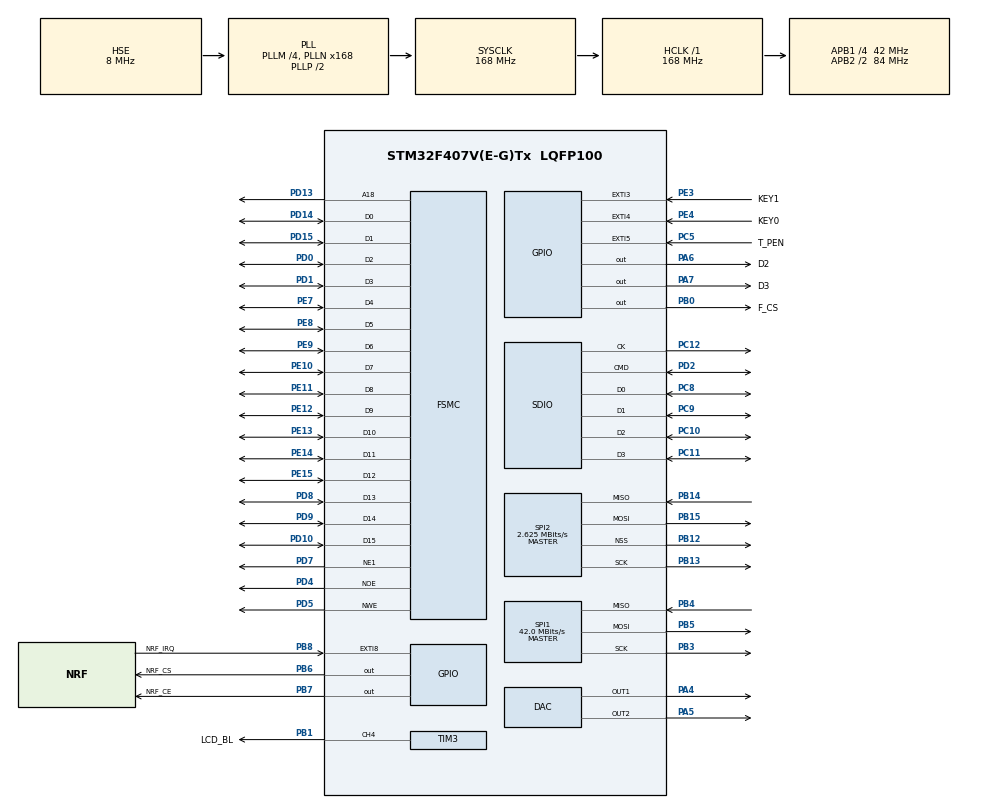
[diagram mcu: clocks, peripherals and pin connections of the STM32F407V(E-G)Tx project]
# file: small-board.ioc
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DAC.DAC_Trigger=DAC_TRIGGER_T6_TRGO
DAC.DAC_Trigger2=DAC_TRIGGER_T6_TRGO
Dma.DAC1.3.Direction=DMA_MEMORY_TO_PERIPH
Dma.DAC1.3.FIFOMode=DMA_FIFOMODE_DISABLE
Dma.DAC1.3.Instance=DMA1_Stream5
Dma.DAC1.3.MemDataAlignment=DMA_MDATAALIGN_HALFWORD
Dma.DAC1.3.MemInc=DMA_MINC_ENABLE
Dma.DAC1.3.Mode=DMA_CIRCULAR
Dma.DAC1.3.PeriphDataAlignment=DMA_PDATAALIGN_HALFWORD
Dma.DAC1.3.PeriphInc=DMA_PINC_DISABLE
Dma.DAC1.3.Priority=DMA_PRIORITY_LOW
Dma.DAC2.4.Direction=DMA_MEMORY_TO_PERIPH
Dma.DAC2.4.FIFOMode=DMA_FIFOMODE_DISABLE
Dma.DAC2.4.Instance=DMA1_Stream6
Dma.DAC2.4.MemDataAlignment=DMA_MDATAALIGN_HALFWORD
Dma.DAC2.4.MemInc=DMA_MINC_ENABLE
Dma.DAC2.4.Mode=DMA_CIRCULAR
Dma.DAC2.4.PeriphDataAlignment=DMA_PDATAALIGN_HALFWORD
Dma.DAC2.4.PeriphInc=DMA_PINC_DISABLE
Dma.DAC2.4.Priority=DMA_PRIORITY_LOW
Dma.MEMTOMEM.2.Direction=DMA_MEMORY_TO_MEMORY
Dma.MEMTOMEM.2.FIFOMode=DMA_FIFOMODE_ENABLE
Dma.MEMTOMEM.2.FIFOThreshold=DMA_FIFO_THRESHOLD_FULL
Dma.MEMTOMEM.2.Instance=DMA2_Stream0
Dma.MEMTOMEM.2.MemBurst=DMA_MBURST_SINGLE
Dma.MEMTOMEM.2.MemDataAlignment=DMA_MDATAALIGN_HALFWORD
Dma.MEMTOMEM.2.MemInc=DMA_MINC_DISABLE
Dma.MEMTOMEM.2.Mode=DMA_NORMAL
Dma.MEMTOMEM.2.PeriphBurst=DMA_PBURST_SINGLE
Dma.MEMTOMEM.2.PeriphDataAlignment=DMA_PDATAALIGN_HALFWORD
Dma.MEMTOMEM.2.PeriphInc=DMA_PINC_ENABLE
Dma.MEMTOMEM.2.Priority=DMA_PRIORITY_MEDIUM
Dma.Request0=SDIO_RX
Dma.Request1=SDIO_TX
Dma.Request2=MEMTOMEM
Dma.Request3=DAC1
Dma.Request4=DAC2
Dma.SDIO_RX.0.Direction=DMA_PERIPH_TO_MEMORY
Dma.SDIO_RX.0.FIFOMode=DMA_FIFOMODE_ENABLE
Dma.SDIO_RX.0.FIFOThreshold=DMA_FIFO_THRESHOLD_FULL
Dma.SDIO_RX.0.Instance=DMA2_Stream3
Dma.SDIO_RX.0.MemBurst=DMA_MBURST_INC4
Dma.SDIO_RX.0.MemDataAlignment=DMA_MDATAALIGN_WORD
Dma.SDIO_RX.0.MemInc=DMA_MINC_ENABLE
Dma.SDIO_RX.0.Mode=DMA_PFCTRL
Dma.SDIO_RX.0.PeriphBurst=DMA_PBURST_INC4
Dma.SDIO_RX.0.PeriphDataAlignment=DMA_PDATAALIGN_WORD
Dma.SDIO_RX.0.PeriphInc=DMA_PINC_DISABLE
Dma.SDIO_RX.0.Priority=DMA_PRIORITY_HIGH
Dma.SDIO_TX.1.Direction=DMA_MEMORY_TO_PERIPH
Dma.SDIO_TX.1.FIFOMode=DMA_FIFOMODE_ENABLE
Dma.SDIO_TX.1.FIFOThreshold=DMA_FIFO_THRESHOLD_FULL
Dma.SDIO_TX.1.Instance=DMA2_Stream6
Dma.SDIO_TX.1.MemBurst=DMA_MBURST_INC4
Dma.SDIO_TX.1.MemDataAlignment=DMA_MDATAALIGN_WORD
Dma.SDIO_TX.1.MemInc=DMA_MINC_ENABLE
Dma.SDIO_TX.1.Mode=DMA_PFCTRL
Dma.SDIO_TX.1.PeriphBurst=DMA_PBURST_INC4
Dma.SDIO_TX.1.PeriphDataAlignment=DMA_PDATAALIGN_WORD
Dma.SDIO_TX.1.PeriphInc=DMA_PINC_DISABLE
Dma.SDIO_TX.1.Priority=DMA_PRIORITY_HIGH
FREERTOS.Queues01=SDQueue,4,uint16_t,NULL,Dynamic,NULL,NULL
FREERTOS.Tasks01=defaultTask,0,4096,StartDefaultTask,Default,NULL,Dynamic,NULL,NULL;soundLoop,0,4096,SoundTask,Default,NULL,Dynamic,NULL,NULL
FREERTOS.configMINIMAL_STACK_SIZE=512
FREERTOS.configTOTAL_HEAP_SIZE=51200
FSMC.AddressSetupTime1=0
FSMC.BusTurnAroundDuration1=0
FSMC.DataSetupTime1=1
Mcu.Family=STM32F4
Mcu.Name=STM32F407V(E-G)Tx
Mcu.Package=LQFP100
NVIC.DMA1_Stream5_IRQn=true\:5\:0\:false\:false\:true\:true\:false
NVIC.DMA1_Stream6_IRQn=true\:5\:0\:false\:false\:true\:true\:false
NVIC.DMA2_Stream0_IRQn=true\:0\:0\:false\:false\:true\:false\:true
NVIC.DMA2_Stream3_IRQn=true\:5\:0\:false\:false\:true\:true\:false
NVIC.DMA2_Stream6_IRQn=true\:5\:0\:false\:false\:true\:true\:false
NVIC.EXTI3_IRQn=true\:5\:0\:false\:false\:true\:true\:true
NVIC.EXTI4_IRQn=true\:5\:0\:false\:false\:true\:true\:true
NVIC.EXTI9_5_IRQn=true\:5\:0\:false\:false\:true\:true\:true
NVIC.PriorityGroup=NVIC_PRIORITYGROUP_4
NVIC.SDIO_IRQn=true\:5\:0\:false\:false\:true\:true\:true
NVIC.TIM6_DAC_IRQn=true\:5\:0\:false\:false\:true\:true\:true
NVIC.TIM7_IRQn=true\:0\:0\:false\:false\:true\:false\:false
NVIC.TimeBase=TIM7_IRQn
NVIC.TimeBaseIP=TIM7
PA13.Mode=Serial_Wire
PA13.Signal=SYS_JTMS-SWDIO
PA14.Mode=Serial_Wire
PA14.Signal=SYS_JTCK-SWCLK
PA4.Signal=COMP_DAC1_group
PA5.Signal=COMP_DAC2_group
PA6.GPIO_Label=D2
PA6.Signal=GPIO_Output
PA7.GPIO_Label=D3
PA7.Signal=GPIO_Output
PB0.GPIO_Label=F_CS
PB0.Signal=GPIO_Output
PB1.GPIO_Label=LCD_BL
PB1.Signal=S_TIM3_CH4
PB12.Mode=NSS_Signal_Hard_Output
PB12.Signal=SPI2_NSS
PB13.Mode=Full_Duplex_Master
PB13.Signal=SPI2_SCK
PB14.Mode=Full_Duplex_Master
PB14.Signal=SPI2_MISO
PB15.Mode=Full_Duplex_Master
PB15.Signal=SPI2_MOSI
PB3.Mode=Full_Duplex_Master
PB3.Signal=SPI1_SCK
PB4.Mode=Full_Duplex_Master
PB4.Signal=SPI1_MISO
PB5.Mode=Full_Duplex_Master
PB5.Signal=SPI1_MOSI
PB6.GPIO_Label=NRF_CS
PB6.Signal=GPIO_Output
PB7.GPIO_Label=NRF_CE
PB7.Signal=GPIO_Output
PB8.GPIO_Label=NRF_IRQ
PB8.Signal=GPXTI8
PC10.Mode=SD_4_bits_Wide_bus
PC10.Signal=SDIO_D2
PC11.Mode=SD_4_bits_Wide_bus
PC11.Signal=SDIO_D3
PC12.Mode=SD_4_bits_Wide_bus
PC12.Signal=SDIO_CK
PC5.GPIO_Label=T_PEN
PC5.GPIO_ModeDefaultEXTI=GPIO_MODE_IT_FALLING
PC5.GPIO_PuPd=GPIO_PULLUP
PC5.Signal=GPXTI5
PC8.Mode=SD_4_bits_Wide_bus
PC8.Signal=SDIO_D0
PC9.Mode=SD_4_bits_Wide_bus
PC9.Signal=SDIO_D1
PD0.Mode=16b-d1
PD0.Signal=FSMC_D2
PD1.Mode=16b-d1
PD1.Signal=FSMC_D3
PD10.Mode=16b-d1
PD10.Signal=FSMC_D15
PD13.Mode=A18_1
PD13.Signal=FSMC_A18
PD14.Mode=16b-d1
PD14.Signal=FSMC_D0
PD15.Mode=16b-d1
PD15.Signal=FSMC_D1
PD2.Mode=SD_4_bits_Wide_bus
PD2.Signal=SDIO_CMD
PD4.Mode=Lcd1
PD4.Signal=FSMC_NOE
PD5.Mode=Lcd1
PD5.Signal=FSMC_NWE
PD7.Mode=NorPsramChipSelect1_1
PD7.Signal=FSMC_NE1
PD8.Mode=16b-d1
PD8.Signal=FSMC_D13
PD9.Mode=16b-d1
PD9.Signal=FSMC_D14
PE10.Mode=16b-d1
PE10.Signal=FSMC_D7
PE11.Mode=16b-d1
PE11.Signal=FSMC_D8
PE12.Mode=16b-d1
PE12.Signal=FSMC_D9
PE13.Mode=16b-d1
PE13.Signal=FSMC_D10
PE14.Mode=16b-d1
PE14.Signal=FSMC_D11
PE15.Mode=16b-d1
PE15.Signal=FSMC_D12
PE3.GPIO_Label=KEY1
PE3.Signal=GPXTI3
PE4.GPIO_Label=KEY0
PE4.Signal=GPXTI4
PE7.Mode=16b-d1
PE7.Signal=FSMC_D4
PE8.Mode=16b-d1
PE8.Signal=FSMC_D5
PE9.Mode=16b-d1
PE9.Signal=FSMC_D6
PH0-OSC_IN.Mode=HSE-External-Oscillator
PH0-OSC_IN.Signal=RCC_OSC_IN
PH1-OSC_OUT.Mode=HSE-External-Oscillator
PH1-OSC_OUT.Signal=RCC_OSC_OUT
ProjectManager.HeapSize=0x400
ProjectManager.StackSize=0x800
ProjectManager.TargetToolchain=SW4STM32
RCC.48MHZClocksFreq_Value=48000000
RCC.AHBFreq_Value=168000000
RCC.APB1CLKDivider=RCC_HCLK_DIV4
RCC.APB1Freq_Value=42000000
RCC.APB1TimFreq_Value=84000000
RCC.APB2CLKDivider=RCC_HCLK_DIV2
RCC.APB2Freq_Value=84000000
RCC.APB2TimFreq_Value=168000000
RCC.CortexFreq_Value=168000000
RCC.HCLKFreq_Value=168000000
RCC.HSE_VALUE=8000000
RCC.HSI_VALUE=16000000
RCC.LSE_VALUE=32768
RCC.PLLM=4
RCC.PLLN=168
RCC.PLLQ=7
RCC.PLLSourceVirtual=RCC_PLLSOURCE_HSE
RCC.SYSCLKFreq_VALUE=168000000
RCC.SYSCLKSource=RCC_SYSCLKSOURCE_PLLCLK
RCC.VCOOutputFreq_Value=336000000
SDIO.ClockBypass=SDIO_CLOCK_BYPASS_DISABLE
SDIO.HardwareFlowControl=SDIO_HARDWARE_FLOW_CONTROL_ENABLE
SH.COMP_DAC1_group.0=DAC_OUT1,DAC_OUT1
SH.COMP_DAC2_group.0=DAC_OUT2,DAC_OUT2
SH.S_TIM3_CH4.0=TIM3_CH4,PWM Generation4 CH4
SPI1.CalculateBaudRate=42.0 MBits/s
SPI1.Direction=SPI_DIRECTION_2LINES
SPI1.Mode=SPI_MODE_MASTER
SPI1.VirtualType=VM_MASTER
SPI2.BaudRatePrescaler=SPI_BAUDRATEPRESCALER_16
SPI2.CalculateBaudRate=2.625 MBits/s
SPI2.Direction=SPI_DIRECTION_2LINES
SPI2.Mode=SPI_MODE_MASTER
SPI2.VirtualNSS=VM_NSSHARD
SPI2.VirtualType=VM_MASTER
TIM3.Channel-PWM\ Generation4\ CH4=TIM_CHANNEL_4
TIM3.Period=100-1
TIM3.Prescaler=168-1
TIM3.Pulse-PWM\ Generation4\ CH4=70
TIM6.Period=5079-1
TIM6.Prescaler=3-1
TIM6.TIM_MasterOutputTrigger=TIM_TRGO_UPDATE
VP_FATFS_VS_SDIO.Mode=SDIO
VP_FREERTOS_VS_ENABLE.Mode=Enabled
VP_SYS_VS_tim7.Mode=TIM7
VP_TIM3_VS_ClockSourceINT.Mode=Internal
VP_TIM6_VS_ClockSourceINT.Mode=Enable_Timer
board=small-board

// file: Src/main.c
/**
 ******************************************************************************
 * File Name          : main.c
 * Description        : Main program body
 ******************************************************************************
 * This notice applies to any and all portions of this file
 * that are not between comment pairs USER CODE BEGIN and
 * USER CODE END. Other portions of this file, whether
 * inserted by the user or by software development tools
 * are owned by their respective copyright owners.
 *
 * Copyright (c) 2017 STMicroelectronics International N.V.
 * All rights reserved.
 *
 * Redistribution and use in source and binary forms, with or without
 * modification, are permitted, provided that the following conditions are met:
 *
 * 1. Redistribution of source code must retain the above copyright notice,
 *    this list of conditions and the following disclaimer.
 * 2. Redistributions in binary form must reproduce the above copyright notice,
 *    this list of conditions and the following disclaimer in the documentation
 *    and/or other materials provided with the distribution.
 * 3. Neither the name of STMicroelectronics nor the names of other
 *    contributors to this software may be used to endorse or promote products
 *    derived from this software without specific written permission.
 * 4. This software, including modifications and/or derivative works of this
 *    software, must execute solely and exclusively on microcontroller or
 *    microprocessor devices manufactured by or for STMicroelectronics.
 * 5. Redistribution and use of this software other than as permitted under
 *    this license is void and will automatically terminate your rights under
 *    this license.
 *
 * THIS SOFTWARE IS PROVIDED BY STMICROELECTRONICS AND CONTRIBUTORS "AS IS"
 * AND ANY EXPRESS, IMPLIED OR STATUTORY WARRANTIES, INCLUDING, BUT NOT
 * LIMITED TO, THE IMPLIED WARRANTIES OF MERCHANTABILITY, FITNESS FOR A
 * PARTICULAR PURPOSE AND NON-INFRINGEMENT OF THIRD PARTY INTELLECTUAL PROPERTY
 * RIGHTS ARE DISCLAIMED TO THE FULLEST EXTENT PERMITTED BY LAW. IN NO EVENT
 * SHALL STMICROELECTRONICS OR CONTRIBUTORS BE LIABLE FOR ANY DIRECT, INDIRECT,
 * INCIDENTAL, SPECIAL, EXEMPLARY, OR CONSEQUENTIAL DAMAGES (INCLUDING, BUT NOT
 * LIMITED TO, PROCUREMENT OF SUBSTITUTE GOODS OR SERVICES; LOSS OF USE, DATA,
 * OR PROFITS; OR BUSINESS INTERRUPTION) HOWEVER CAUSED AND ON ANY THEORY OF
 * LIABILITY, WHETHER IN CONTRACT, STRICT LIABILITY, OR TORT (INCLUDING
 * NEGLIGENCE OR OTHERWISE) ARISING IN ANY WAY OUT OF THE USE OF THIS SOFTWARE,
 * EVEN IF ADVISED OF THE POSSIBILITY OF SUCH DAMAGE.
 *
 ******************************************************************************
 */

#include "main.h"
#include "stm32f4xx_hal.h"
#include "cmsis_os.h"
#include "dac.h"
#include "dma.h"
#include "fatfs.h"
#include "sdio.h"
#include "spi.h"
#include "tim.h"
#include "gpio.h"
#include "fsmc.h"

/* USER CODE BEGIN Includes */
#include "lcd.h"
#include "XPT2046.h"
#include "W25Q16.h"
/* USER CODE END Includes */

/* USER CODE BEGIN PV */
/* Private variables ---------------------------------------------------------*/

/* USER CODE END PV */

void SystemClock_Config(void);
void MX_FREERTOS_Init(void);

/* USER CODE BEGIN PFP */
/* Private function prototypes -----------------------------------------------*/

/* USER CODE END PFP */

/* USER CODE BEGIN 0 */
uint16_t ts_x, ts_y;
/* USER CODE END 0 */

int main(void) {

	/* MCU Configuration----------------------------------------------------------*/

	/* Reset of all peripherals, Initializes the Flash interface and the Systick. */
	HAL_Init();

	/* Configure the system clock */
	SystemClock_Config();

	/* Initialize all configured peripherals */
	MX_GPIO_Init();
	MX_DMA_Init();
	MX_FSMC_Init();
	MX_DAC_Init();
	MX_SDIO_SD_Init();
	MX_TIM6_Init();
	MX_SPI1_Init();
	MX_TIM3_Init();
	MX_SPI2_Init();

	/* USER CODE BEGIN 2 */
	HAL_TIM_PWM_Start(&htim3, TIM_CHANNEL_4);

	LCD_Init();
	LCD_SetBacklight(70);
	LCD_FillScreen(BLACK);
	LCD_SetTextSize(1);
	LCD_SetTextColor(GREEN, BLACK);
	LCD_Printf("CPU: %d MHz\n", SystemCoreClock / 1000000);

	LCD_Printf("W25Q16_ReadID: 0x%08X\n", W25Q16_ReadID(&hspi1));

	LCD_Printf("Please, insert sd card...\n");

	/* USER CODE END 2 */

	/* Call init function for freertos objects (in freertos.c) */
	MX_FREERTOS_Init();

	/* Start scheduler */
	osKernelStart();

	/* We should never get here as control is now taken by the scheduler */

	/* Infinite loop */
	while (1) {

	}

}

/** System Clock Configuration
 */
void SystemClock_Config(void) {

	RCC_OscInitTypeDef RCC_OscInitStruct;
	RCC_ClkInitTypeDef RCC_ClkInitStruct;

	/**Configure the main internal regulator output voltage
	 */
	__HAL_RCC_PWR_CLK_ENABLE()
	;

	__HAL_PWR_VOLTAGESCALING_CONFIG(PWR_REGULATOR_VOLTAGE_SCALE1);

	/**Initializes the CPU, AHB and APB busses clocks
	 */
	RCC_OscInitStruct.OscillatorType = RCC_OSCILLATORTYPE_HSE;
	RCC_OscInitStruct.HSEState = RCC_HSE_ON;
	RCC_OscInitStruct.PLL.PLLState = RCC_PLL_ON;
	RCC_OscInitStruct.PLL.PLLSource = RCC_PLLSOURCE_HSE;
	RCC_OscInitStruct.PLL.PLLM = 4;
	RCC_OscInitStruct.PLL.PLLN = 168;
	RCC_OscInitStruct.PLL.PLLP = RCC_PLLP_DIV2;
	RCC_OscInitStruct.PLL.PLLQ = 7;
	if (HAL_RCC_OscConfig(&RCC_OscInitStruct) != HAL_OK) {
		_Error_Handler(__FILE__, __LINE__);
	}

	/**Initializes the CPU, AHB and APB busses clocks
	 */
	RCC_ClkInitStruct.ClockType = RCC_CLOCKTYPE_HCLK | RCC_CLOCKTYPE_SYSCLK
			| RCC_CLOCKTYPE_PCLK1 | RCC_CLOCKTYPE_PCLK2;
	RCC_ClkInitStruct.SYSCLKSource = RCC_SYSCLKSOURCE_PLLCLK;
	RCC_ClkInitStruct.AHBCLKDivider = RCC_SYSCLK_DIV1;
	RCC_ClkInitStruct.APB1CLKDivider = RCC_HCLK_DIV4;
	RCC_ClkInitStruct.APB2CLKDivider = RCC_HCLK_DIV2;

	if (HAL_RCC_ClockConfig(&RCC_ClkInitStruct, FLASH_LATENCY_5) != HAL_OK) {
		_Error_Handler(__FILE__, __LINE__);
	}

	/**Configure the Systick interrupt time
	 */
	HAL_SYSTICK_Config(HAL_RCC_GetHCLKFreq() / 1000);

	/**Configure the Systick
	 */
	HAL_SYSTICK_CLKSourceConfig(SYSTICK_CLKSOURCE_HCLK);

	/* SysTick_IRQn interrupt configuration */
	HAL_NVIC_SetPriority(SysTick_IRQn, 15, 0);
}

void HAL_TIM_PeriodElapsedCallback(TIM_HandleTypeDef *htim) {
	if (htim->Instance == TIM7) {
		HAL_IncTick();
	}
}

void _Error_Handler(char * file, int line) {
	while (1) {
	}
}

/************************ (C) COPYRIGHT STMicroelectronics *****END OF FILE****/

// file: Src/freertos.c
/**
 ******************************************************************************
 * File Name          : freertos.c
 * Description        : Code for freertos applications
 ******************************************************************************
 * This notice applies to any and all portions of this file
 * that are not between comment pairs USER CODE BEGIN and
 * USER CODE END. Other portions of this file, whether
 * inserted by the user or by software development tools
 * are owned by their respective copyright owners.
 *
 * Copyright (c) 2017 STMicroelectronics International N.V.
 * All rights reserved.
 *
 * Redistribution and use in source and binary forms, with or without
 * modification, are permitted, provided that the following conditions are met:
 *
 * 1. Redistribution of source code must retain the above copyright notice,
 *    this list of conditions and the following disclaimer.
 * 2. Redistributions in binary form must reproduce the above copyright notice,
 *    this list of conditions and the following disclaimer in the documentation
 *    and/or other materials provided with the distribution.
 * 3. Neither the name of STMicroelectronics nor the names of other
 *    contributors to this software may be used to endorse or promote products
 *    derived from this software without specific written permission.
 * 4. This software, including modifications and/or derivative works of this
 *    software, must execute solely and exclusively on microcontroller or
 *    microprocessor devices manufactured by or for STMicroelectronics.
 * 5. Redistribution and use of this software other than as permitted under
 *    this license is void and will automatically terminate your rights under
 *    this license.
 *
 * THIS SOFTWARE IS PROVIDED BY STMICROELECTRONICS AND CONTRIBUTORS "AS IS"
 * AND ANY EXPRESS, IMPLIED OR STATUTORY WARRANTIES, INCLUDING, BUT NOT
 * LIMITED TO, THE IMPLIED WARRANTIES OF MERCHANTABILITY, FITNESS FOR A
 * PARTICULAR PURPOSE AND NON-INFRINGEMENT OF THIRD PARTY INTELLECTUAL PROPERTY
 * RIGHTS ARE DISCLAIMED TO THE FULLEST EXTENT PERMITTED BY LAW. IN NO EVENT
 * SHALL STMICROELECTRONICS OR CONTRIBUTORS BE LIABLE FOR ANY DIRECT, INDIRECT,
 * INCIDENTAL, SPECIAL, EXEMPLARY, OR CONSEQUENTIAL DAMAGES (INCLUDING, BUT NOT
 * LIMITED TO, PROCUREMENT OF SUBSTITUTE GOODS OR SERVICES; LOSS OF USE, DATA,
 * OR PROFITS; OR BUSINESS INTERRUPTION) HOWEVER CAUSED AND ON ANY THEORY OF
 * LIABILITY, WHETHER IN CONTRACT, STRICT LIABILITY, OR TORT (INCLUDING
 * NEGLIGENCE OR OTHERWISE) ARISING IN ANY WAY OUT OF THE USE OF THIS SOFTWARE,
 * EVEN IF ADVISED OF THE POSSIBILITY OF SUCH DAMAGE.
 *
 ******************************************************************************
 */

#include "FreeRTOS.h"
#include "task.h"
#include "cmsis_os.h"

/* USER CODE BEGIN Includes */
#include "fatfs.h"
#include "lcd.h"
#include "waveplayer.h"
/* USER CODE END Includes */

osThreadId defaultTaskHandle;
osThreadId soundLoopHandle;
osMessageQId SDQueueHandle;

/* USER CODE BEGIN Variables */
osMutexDef (sd_mutex);    // Declare mutex
osMutexId  (sd_mutex_id); // Mutex ID
/* USER CODE END Variables */

void StartDefaultTask(void const * argument);
void SoundTask(void const * argument);

extern void MX_FATFS_Init(void);
void MX_FREERTOS_Init(void); /* (MISRA C 2004 rule 8.1) */

/* USER CODE BEGIN FunctionPrototypes */
void DrawSprite(uint16_t x, uint16_t y, uint16_t w, uint16_t h,
		const char * path);
/* USER CODE END FunctionPrototypes */

/* Hook prototypes */

/* Init FreeRTOS */

void MX_FREERTOS_Init(void) {
	/* USER CODE BEGIN Init */
	//BSP_SD_Init();
	/* USER CODE END Init */

	/* USER CODE BEGIN RTOS_MUTEX */
	sd_mutex_id = osMutexCreate(osMutex(sd_mutex));
	/* USER CODE END RTOS_MUTEX */

	/* Create the thread(s) */
	/* definition and creation of defaultTask */
	osThreadDef(defaultTask, StartDefaultTask, osPriorityNormal, 0, 4096);
	defaultTaskHandle = osThreadCreate(osThread(defaultTask), NULL);

	/* definition and creation of soundLoop */
	osThreadDef(soundLoop, SoundTask, osPriorityBelowNormal, 0, 4096);
	soundLoopHandle = osThreadCreate(osThread(soundLoop), NULL);

	/* Create the queue(s) */
	/* definition and creation of SDQueue */
	osMessageQDef(SDQueue, 8, uint16_t);
	SDQueueHandle = osMessageCreate(osMessageQ(SDQueue), NULL);

	/* USER CODE BEGIN RTOS_QUEUES */
	BSP_SD_Init();
	MX_FATFS_Init();
	/* USER CODE END RTOS_QUEUES */
}

/* StartDefaultTask function */
void StartDefaultTask(void const * argument) {
	/* init code for FATFS */

	/* USER CODE BEGIN StartDefaultTask */
	const uint32_t spriteDelay = 50;

	uint32_t xMove = 20;

	for (;;) {
//		DrawSprite(0, 0, 320, 240, "hal_9000.raw");
//		osDelay(5000);
		DrawSprite(0, 0, 320, 240, "screen.raw");
		xMove += 5;
		DrawSprite(xMove, 120, 40, 40, "run0.raw");
		osDelay(spriteDelay);
		DrawSprite(0, 0, 320, 240, "screen.raw");
		xMove += 5;
		DrawSprite(xMove, 120, 40, 40, "run1.raw");
		osDelay(spriteDelay);
		DrawSprite(0, 0, 320, 240, "screen.raw");
		xMove += 5;
		DrawSprite(xMove, 120, 40, 40, "run2.raw");
		osDelay(spriteDelay);
		DrawSprite(0, 0, 320, 240, "screen.raw");
		xMove += 5;
		DrawSprite(xMove, 120, 40, 40, "run3.raw");
		osDelay(spriteDelay);
		DrawSprite(0, 0, 320, 240, "screen.raw");
		xMove += 5;
		DrawSprite(xMove, 120, 40, 40, "run4.raw");
		osDelay(spriteDelay);
		DrawSprite(0, 0, 320, 240, "screen.raw");
		xMove += 5;
		DrawSprite(xMove, 120, 40, 40, "run5.raw");
		osDelay(spriteDelay);
		DrawSprite(0, 0, 320, 240, "screen.raw");
		xMove += 5;
		DrawSprite(xMove, 120, 40, 40, "idle0.raw");
		osDelay(spriteDelay);
		DrawSprite(0, 0, 320, 240, "screen.raw");
		xMove += 5;
		DrawSprite(xMove, 120, 40, 40, "idle1.raw");
		osDelay(spriteDelay);
		DrawSprite(0, 0, 320, 240, "screen.raw");
		xMove += 5;
		DrawSprite(xMove, 120, 40, 40, "idle2.raw");
		osDelay(spriteDelay);
		DrawSprite(0, 0, 320, 240, "screen.raw");
		xMove += 5;
		DrawSprite(xMove, 120, 40, 40, "idle3.raw");
		osDelay(spriteDelay);
		DrawSprite(0, 0, 320, 240, "screen.raw");
		xMove += 5;
		DrawSprite(xMove, 120, 40, 40, "jump0.raw");
		osDelay(spriteDelay);
		DrawSprite(0, 0, 320, 240, "screen.raw");
		xMove += 5;
		DrawSprite(xMove, 120, 40, 40, "jump1.raw");
		osDelay(spriteDelay);
		DrawSprite(0, 0, 320, 240, "screen.raw");
		xMove += 5;
		DrawSprite(xMove, 120, 40, 40, "grab0.raw");
		osDelay(spriteDelay);
		DrawSprite(0, 0, 320, 240, "screen.raw");
		xMove += 5;
		DrawSprite(xMove, 120, 40, 40, "hurt0.raw");
		osDelay(spriteDelay);
		if (xMove > 200)
			xMove = 20;
	}
	/* USER CODE END StartDefaultTask */
}

/* SoundTask function */
void SoundTask(void const * argument) {
	/* USER CODE BEGIN SoundTask */
	retSD = f_mount(&SDFatFS, SDPath, 1);
	/* USER CODE BEGIN StartDefaultTask */
	/* Infinite loop */
	while (1) {
		osDelay(1000);
		AUDIO_PLAYER_Start("hal_9000.wav");
		for (;;) {
			if (AudioState == AUDIO_STATE_STOP)
				break;

			AUDIO_PLAYER_Process();
			osDelay(1);
		}

	}
	/* USER CODE END SoundTask */
}

/* USER CODE BEGIN Application */

void DrawSprite(uint16_t x, uint16_t y, uint16_t w, uint16_t h,
		const char * path) {

	RTRY:
	retSD = f_open(&SDFile, path, FA_OPEN_EXISTING | FA_READ);
	if (retSD == FR_OK) {

		LCD_DrawRAWFromFile(x, y, w, h, (w != 320), &SDFile);
		/* Close file */
		f_close(&SDFile);
	} else {
		osDelay(1);
		goto RTRY;
	}
}
/* USER CODE END Application */

/************************ (C) COPYRIGHT STMicroelectronics *****END OF FILE****/
